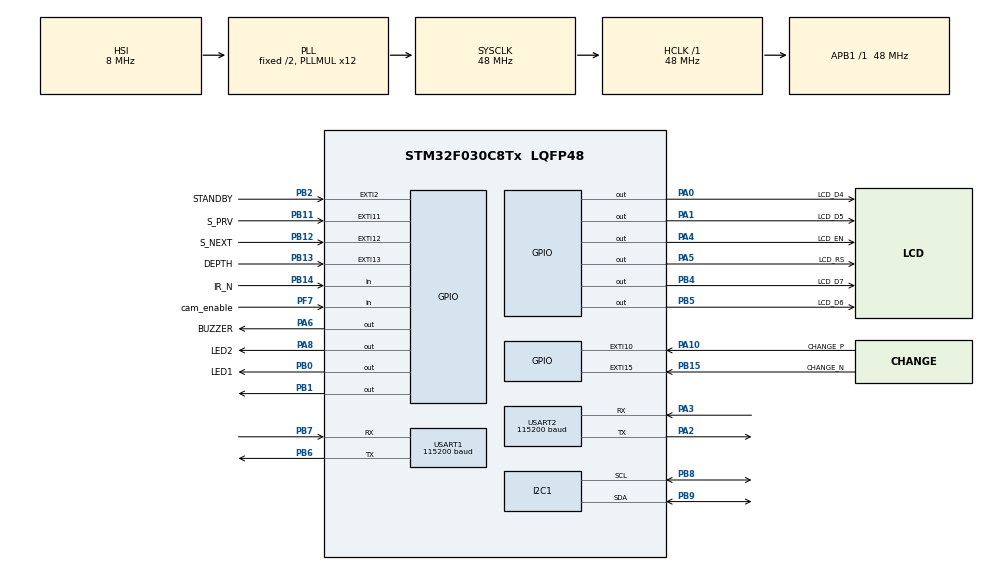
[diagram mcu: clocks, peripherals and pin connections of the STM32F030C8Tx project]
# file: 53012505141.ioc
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Dma.Request0=USART2_RX
Dma.USART2_RX.0.Direction=DMA_PERIPH_TO_MEMORY
Dma.USART2_RX.0.Instance=DMA1_Channel5
Dma.USART2_RX.0.MemDataAlignment=DMA_MDATAALIGN_BYTE
Dma.USART2_RX.0.MemInc=DMA_MINC_ENABLE
Dma.USART2_RX.0.Mode=DMA_NORMAL
Dma.USART2_RX.0.PeriphDataAlignment=DMA_PDATAALIGN_BYTE
Dma.USART2_RX.0.PeriphInc=DMA_PINC_DISABLE
Dma.USART2_RX.0.Priority=DMA_PRIORITY_LOW
FREERTOS.Tasks01=GestureManager,8,128,GestureManagerTask,Default,NULL,Dynamic,NULL,NULL;InputManager,40,128,InputManagerTask,Default,NULL,Dynamic,NULL,NULL
FREERTOS.configTOTAL_HEAP_SIZE=2048
I2C1.Timing=0x10805D88
Mcu.Family=STM32F0
Mcu.Name=STM32F030C8Tx
Mcu.Package=LQFP48
NVIC.DMA1_Channel4_5_IRQn=true\:3\:0\:false\:false\:true\:true\:false\:true\:true
NVIC.EXTI4_15_IRQn=true\:3\:0\:false\:false\:true\:true\:true\:true\:true
NVIC.USART1_IRQn=true\:3\:0\:false\:false\:true\:true\:true\:true\:true
NVIC.USART2_IRQn=true\:3\:0\:true\:false\:true\:true\:true\:true\:true
PA0.GPIO_Label=LCD_D4
PA0.Signal=GPIO_Output
PA1.GPIO_Label=LCD_D5
PA1.Signal=GPIO_Output
PA10.GPIO_Label=CHANGE_P
PA10.GPIO_ModeDefaultEXTI=GPIO_MODE_IT_RISING_FALLING
PA10.Signal=GPXTI10
PA13.Mode=Serial_Wire
PA13.Signal=SYS_SWDIO
PA14.Mode=Serial_Wire
PA14.Signal=SYS_SWCLK
PA2.Mode=Asynchronous
PA2.Signal=USART2_TX
PA3.Mode=Asynchronous
PA3.Signal=USART2_RX
PA4.GPIO_Label=LCD_EN
PA4.Signal=GPIO_Output
PA5.GPIO_Label=LCD_RS
PA5.Signal=GPIO_Output
PA6.GPIO_Label=BUZZER
PA6.Signal=GPIO_Output
PA8.GPIO_Label=LED2
PA8.Signal=GPIO_Output
PB0.GPIO_Label=LED1
PB0.Signal=GPIO_Output
PB1.Signal=GPIO_Output
PB11.GPIO_Label=S_PRV
PB11.GPIO_ModeDefaultEXTI=GPIO_MODE_IT_RISING_FALLING
PB11.Signal=GPXTI11
PB12.GPIO_Label=S_NEXT
PB12.GPIO_ModeDefaultEXTI=GPIO_MODE_IT_RISING_FALLING
PB12.Signal=GPXTI12
PB13.GPIO_Label=DEPTH
PB13.GPIO_ModeDefaultEXTI=GPIO_MODE_IT_RISING_FALLING
PB13.Signal=GPXTI13
PB14.GPIO_Label=IR_N
PB14.Signal=GPIO_Input
PB15.GPIO_Label=CHANGE_N
PB15.GPIO_ModeDefaultEXTI=GPIO_MODE_IT_RISING_FALLING
PB15.GPIO_PuPd=GPIO_NOPULL
PB15.Signal=GPXTI15
PB2.GPIO_Label=STANDBY
PB2.GPIO_ModeDefaultEXTI=GPIO_MODE_IT_RISING_FALLING
PB2.Signal=GPXTI2
PB4.GPIO_Label=LCD_D7
PB4.Signal=GPIO_Output
PB5.GPIO_Label=LCD_D6
PB5.Signal=GPIO_Output
PB6.Mode=Asynchronous
PB6.Signal=USART1_TX
PB7.Mode=Asynchronous
PB7.Signal=USART1_RX
PB8.Mode=I2C
PB8.Signal=I2C1_SCL
PB9.Mode=I2C
PB9.Signal=I2C1_SDA
PF7.GPIO_Label=cam_enable
PF7.GPIO_PuPd=GPIO_PULLUP
PF7.Signal=GPIO_Input
ProjectManager.HeapSize=0x200
ProjectManager.StackSize=0x400
ProjectManager.TargetToolchain=STM32CubeIDE
RCC.AHBFreq_Value=48000000
RCC.APB1Freq_Value=48000000
RCC.APB1TimFreq_Value=48000000
RCC.HCLKFreq_Value=48000000
RCC.I2c1ClockSelection=RCC_I2C1CLKSOURCE_SYSCLK
RCC.PLLMUL=RCC_PLL_MUL12
RCC.SYSCLKFreq_VALUE=48000000
RCC.SYSCLKSource=RCC_SYSCLKSOURCE_PLLCLK
USART1.BaudRate=115200
USART1.Mode=MODE_TX
USART1.VirtualMode-Asynchronous=VM_ASYNC
USART2.BaudRate=115200
USART2.Mode=MODE_RX
USART2.VirtualMode-Asynchronous=VM_ASYNC
USART2.VirtualMode-Half_duplex(single_wire_mode)=VM_ASYNC
USART2.VirtualMode-Multiprocessor_communication=VM_ASYNC
VP_FREERTOS_VS_CMSIS_V2.Mode=CMSIS_V2
board=custom

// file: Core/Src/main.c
/* USER CODE BEGIN Header */
/**
 ******************************************************************************
 * @file           : main.c
 * @brief          : Main program body
 ******************************************************************************
 * @attention
 *
 * Copyright (c) 2025 STMicroelectronics.
 * All rights reserved.
 *
 * This software is licensed under terms that can be found in the LICENSE file
 * in the root directory of this software component.
 * If no LICENSE file comes with this software, it is provided AS-IS.
 *
 ******************************************************************************
 */
/* USER CODE END Header */
#include "main.h"
#include "cmsis_os.h"

/* USER CODE BEGIN Includes */
#include <stdio.h>      // Needed for printf
#include "gesture.h"  // Ensure this header is included
#include "eeprom.h"
//#include "inactivity_manager.h"

//#include "gesture.h"
/* USER CODE END Includes */

I2C_HandleTypeDef hi2c1;

UART_HandleTypeDef huart1;
UART_HandleTypeDef huart2;
DMA_HandleTypeDef hdma_usart2_rx;

/* Definitions for GestureManager */
osThreadId_t GestureManagerHandle;
const osThreadAttr_t GestureManager_attributes = {
  .name = "GestureManager",
  .stack_size = 128 * 4,
  .priority = (osPriority_t) osPriorityLow,
};
/* Definitions for InputManager */
osThreadId_t InputManagerHandle;
const osThreadAttr_t InputManager_attributes = {
  .name = "InputManager",
  .stack_size = 128 * 4,
  .priority = (osPriority_t) osPriorityHigh,
};
/* USER CODE BEGIN PV */

#define EEPRO_LONG_PRESS_DURATION 20000   // 20 seconds in ms
#define LONG_PRESS_DURATION 2500
/* USER CODE END PV */

void SystemClock_Config(void);
static void MX_GPIO_Init(void);
static void MX_DMA_Init(void);
static void MX_USART1_UART_Init(void);
static void MX_I2C1_Init(void);
static void MX_USART2_UART_Init(void);
void GestureManagerTask(void *argument);
void InputManagerTask(void *argument);

/* USER CODE BEGIN PFP */

void CheckButtonLongPress(void);
void sensor_status_update(void);
void short_press_action(void);
void depth_long_press(void);
void depth_short_press(void);
void MyGestureEventHandler(InputAction event);
void MyButtonEventHandler(ButtonEvent *event);
void ResetUART(void);

/* USER CODE END PFP */

/* USER CODE BEGIN 0 */

/* Global variable to track system uptime */
volatile uint32_t systemTimeSec = 0;
#define LONG_PRESS_DURATION 2500  // Long press duration in milliseconds
uint32_t buttonPressStartTime = 0;
uint8_t buttonPressed = 0;

void sensor_status_update(void)
{
	InputEvent input_event = { .source = INPUT_SOURCE_BUTTON };

	input_event.action = INPUT_LONG_MOVE_UP;

	enqueue_event(input_event); //
}

/* Function to Check Long Press */

void short_press_action()
{
	InputEvent input_event = { .source = INPUT_SOURCE_BUTTON };

	input_event.action = INPUT_MOVE_UP;

	enqueue_event(input_event);

}

uint8_t ges_type = 0;
void depth_long_press() {
    // Call the system uptime function or relevant action on depth long press
    systemTimeSec++;
    SaveUptimeToEEPROM(systemTimeSec);
    systemup_time();

}

void depth_short_press()
{
	InputEvent input_event = { .source = INPUT_SOURCE_BUTTON };

	input_event.action = INPUT_DEPTH;

	enqueue_event(input_event);

}
uint8_t buttonId = 0;
void CheckButtonLongPress(void) {
    if (HAL_GPIO_ReadPin(S_PRV_GPIO_Port, S_PRV_Pin) == GPIO_PIN_RESET) {
        if (buttonPressed == 0) {
            buttonPressed = 1;
            buttonId = 1;
            buttonPressStartTime = HAL_GetTick();
        } else if (buttonPressed == 1) {
            if ((HAL_GetTick() - buttonPressStartTime) >= LONG_PRESS_DURATION) {
                sensor_status_update();
                buttonPressed = 2;
            }
        }
    }
    else if (HAL_GPIO_ReadPin(S_NEXT_GPIO_Port, S_NEXT_Pin) == GPIO_PIN_RESET) {
        if (buttonPressed == 0) {
            buttonPressed = 1;
            buttonId = 1;
            buttonPressStartTime = HAL_GetTick();
        } else if (buttonPressed == 1) {
            if ((HAL_GetTick() - buttonPressStartTime) >= EEPRO_LONG_PRESS_DURATION) {
            	ResetSystemUptime();
                buttonPressed = 2;
            }
        }
    }
    else if (HAL_GPIO_ReadPin(DEPTH_GPIO_Port, DEPTH_Pin) == GPIO_PIN_RESET) {
        if (buttonPressed == 0) {
            buttonPressed = 1;
            buttonId = 2;
            buttonPressStartTime = HAL_GetTick();
        } else if (buttonPressed == 1) {
            if ((HAL_GetTick() - buttonPressStartTime) >= LONG_PRESS_DURATION) {
                button_states[4].long_press_detected = 1;  // DEPTH: suppress short press (ENDO toggle) on release
                depth_long_press();
                buttonPressed = 2;
            }
        }
    }
    else if (HAL_GPIO_ReadPin(CHANGE_P_GPIO_Port, CHANGE_P_Pin) == GPIO_PIN_RESET) {
        if (buttonPressed == 0) {
            buttonPressed = 1;
            buttonId = 3;
            buttonPressStartTime = HAL_GetTick();
        } else if (buttonPressed == 1) {
            if ((HAL_GetTick() - buttonPressStartTime) >= LONG_PRESS_DURATION) {
                buttonPressed = 2;
            }
        }
    }
    else {
        if (buttonPressed == 1) {
            if ((HAL_GetTick() - buttonPressStartTime) < LONG_PRESS_DURATION) {
                if (buttonId == 1) short_press_action();
                else if (buttonId == 3) {
                    InputEvent e = { .source = INPUT_SOURCE_BUTTON, .action = INPUT_CHANGE_P };
                    enqueue_event(e);
                }
            }
        }
        buttonPressed = 0;
        buttonId = 0;
    }
}
void MyGestureEventHandler(InputAction event) {
    InputEvent input_event = { .source = INPUT_SOURCE_GESTURE };

    switch (event) {
        case INPUT_MOVE_DOWN:
            input_event.action = INPUT_MOVE_DOWN;
            ges_type = 1;
            break;
        case INPUT_MOVE_UP:
            input_event.action = INPUT_MOVE_UP;
            ges_type = 0;
            break;
        case INPUT_BACK:
            input_event.action = INPUT_BACK;
            ges_type = 2;
            break;
        case INPUT_SELECT:
            input_event.action = INPUT_SELECT;
            ges_type = 3;
            break;
        default:
            return;
    }
    enqueue_event(input_event);
}
void HAL_GPIO_EXTI_Callback(uint16_t GPIO_Pin) {
    ButtonManager_HandleInterrupt(GPIO_Pin);
}
void MyButtonEventHandler(ButtonEvent *event) {
    InputEvent e = { .source = INPUT_SOURCE_BUTTON, .action = INPUT_UNKNOWN };

    switch (event->action) {
    case BUTTON_ACTION_SHORT_PRESS:
        e.action = (event->button_id == 1) ? INPUT_MOVE_DOWN :
                   (event->button_id == 2) ? INPUT_SELECT   :
                   (event->button_id == 3) ? INPUT_BACK     :
                   (event->button_id == 4) ? INPUT_DEPTH    :
                   (event->button_id == 5) ? INPUT_CHANGE_P : INPUT_UNKNOWN;
        break;
    case BUTTON_ACTION_LONG_PRESS:
        if (event->button_id == 4) {
            e.action = INPUT_LONG_DEPTH;
        } else if (event->button_id == 5) {
            e.action = INPUT_LONG_CHANGE_P;
        }
        break;
    default: break;
    }
    if (e.action != INPUT_UNKNOWN) enqueue_event(e);
}
int __io_putchar(int ch) {
    return ch;
}
extern volatile uint8_t newData;
void ResetUART(void) {
	 HAL_UART_DeInit(&huart2);
	 MX_USART2_UART_Init();
	  HAL_UART_Receive_IT(&huart2, getRxBuffer(), 1);
}
void ResetSystemUptime(void) {
    systemTimeSec = 0;
    SaveUptimeToEEPROM(systemTimeSec);
    systemup_time();
}
uint8_t I2C_Scanner(void)
{
    char msg[20];
    uint8_t found = 0;
    LCD_Clear();
    LCD_WriteString("Scanning...");
    HAL_Delay(500);
    for (uint8_t addr = 1; addr < 128; addr++)
    {
        if (HAL_I2C_IsDeviceReady(&hi2c1, addr << 1, 2, 10) == HAL_OK)
        {
            sprintf(msg, "Found:0x%02X", addr);
            LCD_Clear();
            LCD_WriteString(msg);
            HAL_Delay(1000);
            found = addr;
        }
    }
    LCD_Clear();
    if (found)
    {
        sprintf(msg, "Dev:0x%02X", found);
        LCD_WriteString(msg);
    }
    else
    {
        LCD_WriteString("No device!");
    }
    HAL_Delay(1000);
    return found;
}
void EEPROM_Debug_Test(void)
{
    char msg[20];
    uint8_t dev_addr = I2C_Scanner();
    if (dev_addr == 0)
    {
        LCD_Clear();
        LCD_WriteString("No I2C Dev Found");
        return;
    }
    LCD_Clear();
    LCD_WriteString("EEPROM Debug");
    HAL_Delay(1000);
    uint8_t val = 99;
    uint8_t val_read = 0;
    HAL_StatusTypeDef status;
    for (uint8_t block = 0; block < 2; block++)
    {
        uint8_t device = 0x50 | block;
        uint8_t memAddr = 0x10;
        LCD_Clear();
        sprintf(msg, "W:B%d Addr0x%02X", block, device);
        LCD_WriteString(msg);
        HAL_Delay(500);
        status = HAL_I2C_Mem_Write(&hi2c1,
                                   (device << 1),
                                   memAddr,
                                   I2C_MEMADD_SIZE_8BIT,
                                   &val,
                                   1,
                                   1000);
        if (status != HAL_OK)
        {
            uint32_t err = HAL_I2C_GetError(&hi2c1);
            LCD_Clear();
            sprintf(msg, "WErr B%d:%lu", block, err);
            LCD_WriteString(msg);
            HAL_Delay(1500);
            continue;
        }
        HAL_Delay(10);
        val_read = 0;
        status = HAL_I2C_Mem_Read(&hi2c1,
                                  (device << 1),
                                  memAddr,
                                  I2C_MEMADD_SIZE_8BIT,
                                  &val_read,
                                  1,
                                  1000);
        LCD_Clear();
        if (status == HAL_OK)
        {
            if (val_read == val)
            {
                sprintf(msg, "B%d OK:%d", block, val_read);
            }
            else
            {
                sprintf(msg, "B%d MISM:%d", block, val_read);
            }
        }
        else
        {
            uint32_t err = HAL_I2C_GetError(&hi2c1);
            sprintf(msg, "R ERR:%lu", err);
        }
        LCD_WriteString(msg);
        HAL_Delay(1500);
    }
    LCD_Clear();
    LCD_WriteString("EEPROM OK");
    HAL_Delay(2000);
}
void EEPROM_Uptime_Test(void)
{
    LCD_Clear();
    LCD_WriteString("Uptime Test...");
    HAL_Delay(1000);
    HAL_StatusTypeDef status;
    uint32_t uptime_write = 0x12345678;
    uint32_t uptime_read  = 0;
    status = SaveUptimeToEEPROM(uptime_write);
    HAL_Delay(20);
    LCD_Clear();
    if (status == HAL_OK)
    {
        LCD_WriteString("Write: OK");
    }
    else
    {
        char msg[16];
        sprintf(msg, "W ERR:%lu", HAL_I2C_GetError(&hi2c1));
        LCD_WriteString(msg);
        return;
    }
    HAL_Delay(1000);
    status = LoadUptimeFromEEPROM(&uptime_read);
    LCD_Clear();
    if (status == HAL_OK)
    {
        char msg[20];
        sprintf(msg, "Read: %08lX", uptime_read);
        LCD_WriteString(msg);
    }
    else
    {
        char msg[16];
        sprintf(msg, "R ERR:%lu", HAL_I2C_GetError(&hi2c1));
        LCD_WriteString(msg);
    }

    HAL_Delay(3000);
    LCD_Clear();
    if (uptime_read == uptime_write)
        LCD_WriteString("✅ MATCH OK");
    else
    {
        char msg[20];
        sprintf(msg, "❌ MISM:%08lX", uptime_read);
        LCD_WriteString(msg);
    }
    HAL_Delay(3000);
}

/* USER CODE END 0 */

int main(void)
{

  /* MCU Configuration--------------------------------------------------------*/

  /* Reset of all peripherals, Initializes the Flash interface and the Systick. */
  HAL_Init();

  /* Configure the system clock */
  SystemClock_Config();

  /* Initialize all configured peripherals */
  MX_GPIO_Init();
  MX_DMA_Init();
  MX_USART1_UART_Init();
  MX_I2C1_Init();
  MX_USART2_UART_Init();
  /* USER CODE BEGIN 2 */
  EEPROM_Init();  // Restore saved run time from EEPROM
//  InactivityManager_CheckAndAutoOff();
  /* USER CODE END 2 */

  /* Init scheduler */
  osKernelInitialize();

  /* Create the thread(s) */
  /* creation of GestureManager */
  GestureManagerHandle = osThreadNew(GestureManagerTask, NULL, &GestureManager_attributes);

  /* creation of InputManager */
  InputManagerHandle = osThreadNew(InputManagerTask, NULL, &InputManager_attributes);

  /* USER CODE BEGIN RTOS_THREADS */
	/* add threads, ... */
	ButtonManager_Init(MyButtonEventHandler);

  /* USER CODE END RTOS_THREADS */

  /* USER CODE BEGIN RTOS_EVENTS */
	/* add events, ... */

	 UART_Packet_Init(&huart2);
//	 initI2CSemaphore();  // Create the semaphore
  /* USER CODE END RTOS_EVENTS */

  /* Start scheduler */
  osKernelStart();

  /* We should never get here as control is now taken by the scheduler */

  /* Infinite loop */
	while (1) {

	}
}

void SystemClock_Config(void)
{
  RCC_OscInitTypeDef RCC_OscInitStruct = {0};
  RCC_ClkInitTypeDef RCC_ClkInitStruct = {0};
  RCC_PeriphCLKInitTypeDef PeriphClkInit = {0};

  /** Initializes the RCC Oscillators according to the specified parameters
  * in the RCC_OscInitTypeDef structure.
  */
  RCC_OscInitStruct.OscillatorType = RCC_OSCILLATORTYPE_HSI;
  RCC_OscInitStruct.HSIState = RCC_HSI_ON;
  RCC_OscInitStruct.HSICalibrationValue = RCC_HSICALIBRATION_DEFAULT;
  RCC_OscInitStruct.PLL.PLLState = RCC_PLL_ON;
  RCC_OscInitStruct.PLL.PLLSource = RCC_PLLSOURCE_HSI;
  RCC_OscInitStruct.PLL.PLLMUL = RCC_PLL_MUL12;
  RCC_OscInitStruct.PLL.PREDIV = RCC_PREDIV_DIV1;
  if (HAL_RCC_OscConfig(&RCC_OscInitStruct) != HAL_OK)
  {
    Error_Handler();
  }

  /** Initializes the CPU, AHB and APB buses clocks
  */
  RCC_ClkInitStruct.ClockType = RCC_CLOCKTYPE_HCLK|RCC_CLOCKTYPE_SYSCLK
                              |RCC_CLOCKTYPE_PCLK1;
  RCC_ClkInitStruct.SYSCLKSource = RCC_SYSCLKSOURCE_PLLCLK;
  RCC_ClkInitStruct.AHBCLKDivider = RCC_SYSCLK_DIV1;
  RCC_ClkInitStruct.APB1CLKDivider = RCC_HCLK_DIV1;

  if (HAL_RCC_ClockConfig(&RCC_ClkInitStruct, FLASH_LATENCY_1) != HAL_OK)
  {
    Error_Handler();
  }
  PeriphClkInit.PeriphClockSelection = RCC_PERIPHCLK_USART1|RCC_PERIPHCLK_I2C1;
  PeriphClkInit.Usart1ClockSelection = RCC_USART1CLKSOURCE_PCLK1;
  PeriphClkInit.I2c1ClockSelection = RCC_I2C1CLKSOURCE_SYSCLK;
  if (HAL_RCCEx_PeriphCLKConfig(&PeriphClkInit) != HAL_OK)
  {
    Error_Handler();
  }
}

static void MX_I2C1_Init(void)
{

  hi2c1.Instance = I2C1;
  hi2c1.Init.Timing = 0x10805D88;
  hi2c1.Init.OwnAddress1 = 0;
  hi2c1.Init.AddressingMode = I2C_ADDRESSINGMODE_7BIT;
  hi2c1.Init.DualAddressMode = I2C_DUALADDRESS_DISABLE;
  hi2c1.Init.OwnAddress2 = 0;
  hi2c1.Init.OwnAddress2Masks = I2C_OA2_NOMASK;
  hi2c1.Init.GeneralCallMode = I2C_GENERALCALL_DISABLE;
  hi2c1.Init.NoStretchMode = I2C_NOSTRETCH_DISABLE;
  if (HAL_I2C_Init(&hi2c1) != HAL_OK)
  {
    Error_Handler();
  }

  /** Configure Analogue filter
  */
  if (HAL_I2CEx_ConfigAnalogFilter(&hi2c1, I2C_ANALOGFILTER_ENABLE) != HAL_OK)
  {
    Error_Handler();
  }

  /** Configure Digital filter
  */
  if (HAL_I2CEx_ConfigDigitalFilter(&hi2c1, 0) != HAL_OK)
  {
    Error_Handler();
  }

}

static void MX_USART1_UART_Init(void)
{

  huart1.Instance = USART1;
  huart1.Init.BaudRate = 115200;
  huart1.Init.WordLength = UART_WORDLENGTH_8B;
  huart1.Init.StopBits = UART_STOPBITS_1;
  huart1.Init.Parity = UART_PARITY_NONE;
  huart1.Init.Mode = UART_MODE_TX;
  huart1.Init.HwFlowCtl = UART_HWCONTROL_NONE;
  huart1.Init.OverSampling = UART_OVERSAMPLING_16;
  huart1.Init.OneBitSampling = UART_ONE_BIT_SAMPLE_DISABLE;
  huart1.AdvancedInit.AdvFeatureInit = UART_ADVFEATURE_NO_INIT;
  if (HAL_UART_Init(&huart1) != HAL_OK)
  {
    Error_Handler();
  }

}

static void MX_USART2_UART_Init(void)
{

  huart2.Instance = USART2;
  huart2.Init.BaudRate = 115200;
  huart2.Init.WordLength = UART_WORDLENGTH_8B;
  huart2.Init.StopBits = UART_STOPBITS_1;
  huart2.Init.Parity = UART_PARITY_NONE;
  huart2.Init.Mode = UART_MODE_RX;
  huart2.Init.HwFlowCtl = UART_HWCONTROL_NONE;
  huart2.Init.OverSampling = UART_OVERSAMPLING_16;
  huart2.Init.OneBitSampling = UART_ONE_BIT_SAMPLE_DISABLE;
  huart2.AdvancedInit.AdvFeatureInit = UART_ADVFEATURE_NO_INIT;
  if (HAL_UART_Init(&huart2) != HAL_OK)
  {
    Error_Handler();
  }

}

static void MX_DMA_Init(void)
{

  /* DMA controller clock enable */
  __HAL_RCC_DMA1_CLK_ENABLE();

  /* DMA interrupt init */
  /* DMA1_Channel4_5_IRQn interrupt configuration */
  HAL_NVIC_SetPriority(DMA1_Channel4_5_IRQn, 3, 0);
  HAL_NVIC_EnableIRQ(DMA1_Channel4_5_IRQn);

}

static void MX_GPIO_Init(void)
{
  GPIO_InitTypeDef GPIO_InitStruct = {0};

  /* GPIO Ports Clock Enable */
  __HAL_RCC_GPIOA_CLK_ENABLE();
  __HAL_RCC_GPIOB_CLK_ENABLE();
  __HAL_RCC_GPIOF_CLK_ENABLE();

  /*Configure GPIO pin Output Level */
  HAL_GPIO_WritePin(GPIOA, LCD_D4_Pin|LCD_D5_Pin|LCD_EN_Pin|LCD_RS_Pin
                          |BUZZER_Pin|LED2_Pin, GPIO_PIN_RESET);

  /*Configure GPIO pin Output Level */
  HAL_GPIO_WritePin(GPIOB, LED1_Pin|GPIO_PIN_1|LCD_D7_Pin|LCD_D6_Pin, GPIO_PIN_RESET);

  /*Configure GPIO pins : LCD_D4_Pin LCD_D5_Pin LCD_EN_Pin LCD_RS_Pin
                           BUZZER_Pin LED2_Pin */
  GPIO_InitStruct.Pin = LCD_D4_Pin|LCD_D5_Pin|LCD_EN_Pin|LCD_RS_Pin
                          |BUZZER_Pin|LED2_Pin;
  GPIO_InitStruct.Mode = GPIO_MODE_OUTPUT_PP;
  GPIO_InitStruct.Pull = GPIO_NOPULL;
  GPIO_InitStruct.Speed = GPIO_SPEED_FREQ_LOW;
  HAL_GPIO_Init(GPIOA, &GPIO_InitStruct);

  /*Configure GPIO pins : LED1_Pin PB1 LCD_D7_Pin LCD_D6_Pin */
  GPIO_InitStruct.Pin = LED1_Pin|GPIO_PIN_1|LCD_D7_Pin|LCD_D6_Pin;
  GPIO_InitStruct.Mode = GPIO_MODE_OUTPUT_PP;
  GPIO_InitStruct.Pull = GPIO_NOPULL;
  GPIO_InitStruct.Speed = GPIO_SPEED_FREQ_LOW;
  HAL_GPIO_Init(GPIOB, &GPIO_InitStruct);

  /*Configure GPIO pins : STANDBY_Pin S_PRV_Pin S_NEXT_Pin DEPTH_Pin
                           CHANGE_N_Pin */
  GPIO_InitStruct.Pin = STANDBY_Pin|S_PRV_Pin|S_NEXT_Pin|DEPTH_Pin
                          |CHANGE_N_Pin;
  GPIO_InitStruct.Mode = GPIO_MODE_IT_RISING_FALLING;
  GPIO_InitStruct.Pull = GPIO_NOPULL;
  HAL_GPIO_Init(GPIOB, &GPIO_InitStruct);

  /*Configure GPIO pin : IR_N_Pin */
  GPIO_InitStruct.Pin = IR_N_Pin;
  GPIO_InitStruct.Mode = GPIO_MODE_INPUT;
  GPIO_InitStruct.Pull = GPIO_NOPULL;
  HAL_GPIO_Init(IR_N_GPIO_Port, &GPIO_InitStruct);

  /*Configure GPIO pin : CHANGE_P_Pin */
  GPIO_InitStruct.Pin = CHANGE_P_Pin;
  GPIO_InitStruct.Mode = GPIO_MODE_IT_RISING_FALLING;
  GPIO_InitStruct.Pull = GPIO_NOPULL;
  HAL_GPIO_Init(CHANGE_P_GPIO_Port, &GPIO_InitStruct);

  /*Configure GPIO pin : cam_enable_Pin */
  GPIO_InitStruct.Pin = cam_enable_Pin;
  GPIO_InitStruct.Mode = GPIO_MODE_INPUT;
  GPIO_InitStruct.Pull = GPIO_PULLUP;
  HAL_GPIO_Init(cam_enable_GPIO_Port, &GPIO_InitStruct);

  /* EXTI interrupt init*/
  HAL_NVIC_SetPriority(EXTI4_15_IRQn, 3, 0);
  HAL_NVIC_EnableIRQ(EXTI4_15_IRQn);

}

/* USER CODE BEGIN Header_GestureManagerTask */

int8_t mylastgesture = 0;
uint8_t loadscr = 0;
/**
 * @brief  Function implementing the GestureManager thread.
 * @param  argument: Not used
 * @retval None
 */
/* USER CODE END Header_GestureManagerTask */
void GestureManagerTask(void *argument)
{
  /* USER CODE BEGIN 5 */
	/* Infinite loop */
//	LCD_Init();
//	init_screen1(0);
	//----------------
	init_gesture();
	InactivityManager_Init();
//	uint8_t data_1[5];

//	sensor_state = 1;
	for (;;) {
		CheckButtonLongPress();
		InactivityManager_CheckAndAutoOff();

		if (isDataReady()) {
			uint8_t *rxData = getRxBuffer(); // Retrieve the buffer pointer
//			strncpy(data_1, rxData, sizeof(data_1) - 1);
			if(rxData[1] == 'F' || rxData[1] == 'M')
			{
				if( rxData[3] == '2' || rxData[3] == '3' )
				{

				}
				else
				{
					loadscr = 1; //
				}

			}
			else
			{
				loadscr = 0;
			}

			if(screen_state != loadscr)
			{
				if(loadscr)
				{
					init_second_screen();
//						load_focus_options();
						screen_state =1;
				}

				else
				{
							LCD_Init();
							init_screen1(0);
							update_screen1_with_current_values();
							screen_state =0;
				}

			}

			if( rxData[3] != '2' || rxData[3] != '3' )
			{
				process_uart_command((const char *)rxData);
			}

			resetDataReady();

		}
		process_input_events();
		//------------------------
		init_gesture();
		if (sensor_state == 1)
		{
			gestureAvailable();
		       if(newData )
		       {

		    	   mylastgesture = readGesture();
		    	   MyGestureEventHandler(mylastgesture);
		    	   newData = 0;
		       }
		}

		osDelay(pdMS_TO_TICKS(5));
	}
  /* USER CODE END 5 */
}

void InputManagerTask(void *argument)
{
  /* USER CODE BEGIN InputManagerTask */
	LCD_Init();
	init_screen1(0);

	uint16_t count =0;

	 ResetUART();
	/* Infinite loop */
	for (;;) {

		systemTimeSec++;
		 count++;
		 if(count > 60000)
		 {
			 count=0;
			 ResetUART();
		 }
		osDelay(pdMS_TO_TICKS(1000)); // Task delay

	}
  /* USER CODE END InputManagerTask */
}

void Error_Handler(void)
{
	__disable_irq();
	while (1) {
	}
}
